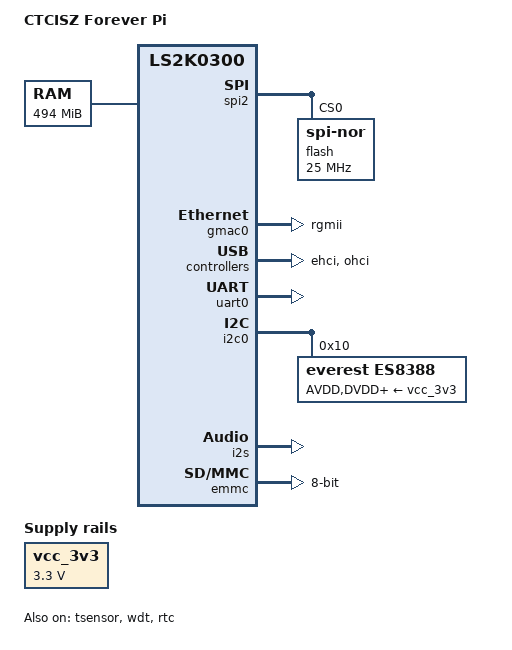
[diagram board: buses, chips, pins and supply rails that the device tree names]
// SPDX-License-Identifier: GPL-2.0
/*
 * Copyright (C) 2025 Yao Zi <ziyao@disroot.org>
 */

/dts-v1/;

#include "loongson-2k0300.dtsi"

/ {
	compatible = "ctcisz,forever-pi", "loongson,ls2k0300";
	model = "CTCISZ Forever Pi";

	aliases {
		serial0 = &uart0;
	};

	chosen {
		stdout-path = "serial0:115200n8";
	};

	memory@200000 {
		device_type = "memory";
		reg = <0 0x00200000 0 0x0ee00000>,
		      <0 0x90000000 0 0x10000000>;
	};

	reserved-memory {
		#address-cells = <2>;
		#size-cells = <2>;
		ranges;

		linux,cma {
			compatible = "shared-dma-pool";
			reusable;
			size = <0 0x02000000>;
			linux,cma-default;
		};
	};

	sound {
		compatible = "loongson,ls2k0300-forever-pi-audio-card";
		model = "Loongson-ASoC";
		mclk-fs = <512>;

		cpu {
			sound-dai = <&i2s>;
		};

		codec {
			sound-dai = <&es8388>;
		};
	};

	vcc_3v3: regulator-vcc-3v3 {
		compatible = "regulator-fixed";
		regulator-name = "VCC_3V3";
		regulator-min-microvolt = <3300000>;
		regulator-max-microvolt = <3300000>;
		regulator-always-on;
		regulator-boot-on;
	};

	es8388_clk: es8388-clock {
		compatible = "fixed-clock";
		clock-frequency = <12288000>;
		#clock-cells = <0>;
	};

	thermal-zones {
		cpu_thermal: cpu-thermal {
			polling-delay-passive = <1000>;
			polling-delay = <5000>;
			thermal-sensors = <&tsensor 0>;

			trips {
				cpu_alert: cpu-alert {
					temperature = <75000>;
					hysteresis = <5000>;
					type = "active";
				};

				cpu_crit: cpu-crit {
					temperature = <105000>;
					hysteresis = <5000>;
					type = "critical";
				};
			};
		};
	};
};

//&spi1 {
//	status = "okay";
//
//	pinctrl-0 = <&spi1_pins>;
//	pinctrl-names = "default";
//
//	#address-cells = <1>;
//	#size-cells = <0>;
//
//	flash@0 {
//		compatible = "jedec,spi-nor";
//		spi-max-frequency = <25000000>;
//		reg = <0>;
//	};
//};

&spi2 {
	status = "okay";

	pinctrl-0 = <&spi2_pins>;
	pinctrl-names = "default";

	dmas =  <&dma 1 0x8e>, <&dma 0 0x8e>;
	dma-names = "tx", "rx";

	#address-cells = <1>;
	#size-cells = <0>;

	flash@0 {
		compatible = "jedec,spi-nor";
		spi-max-frequency = <25000000>;
		reg = <0>;
	};
};

&tsensor {
	status = "okay";
};

&gmac0 {
	status = "okay";

	phy-mode = "rgmii";
	bus_id = <0x00>;
};

&wdt {
	status = "okay";
};

&ehci {
	status = "okay";
};

&ohci {
	status = "okay";
};

&uart0 {
	status = "okay";
};

&i2c0 {
	status = "okay";

	#address-cells = <1>;
	#size-cells = <0>;

	es8388: audio-codec@10 {
		compatible = "everest,es8388", "everest,es8328";
		reg = <0x10>;
		clocks = <&es8388_clk>;
		AVDD-supply = <&vcc_3v3>;
		DVDD-supply = <&vcc_3v3>;
		HPVDD-supply = <&vcc_3v3>;
		PVDD-supply = <&vcc_3v3>;
		#sound-dai-cells = <0>;
	};
};

&rtc {
	status = "okay";
};

&dma {
	status = "okay";
};

&i2s {
	status = "okay";

	dmas = <&dma 7 0xbf>, <&dma 6 0xaf>;
	dma-names = "tx", "rx";
};

&emmc {
	status = "okay";

	mmc-hs200-1_8v;
	cap-mmc-highspeed;
	no-sd;
	no-sdio;
	bus-width = <8>;
};

&pinctrl {
	func-spi {
		spi1_pins: spi1-pins {
			pinmux = <PINMUX(60, 0x3)>,
				 <PINMUX(61, 0x3)>,
				 <PINMUX(62, 0x3)>,
				 <PINMUX(63, 0x3)>;
		};

		spi2_pins: spi2-pins {
			pinmux = <PINMUX(64, 0x3)>,
				 <PINMUX(65, 0x3)>,
				 <PINMUX(66, 0x3)>,
				 <PINMUX(67, 0x3)>;
		};
	};
};
